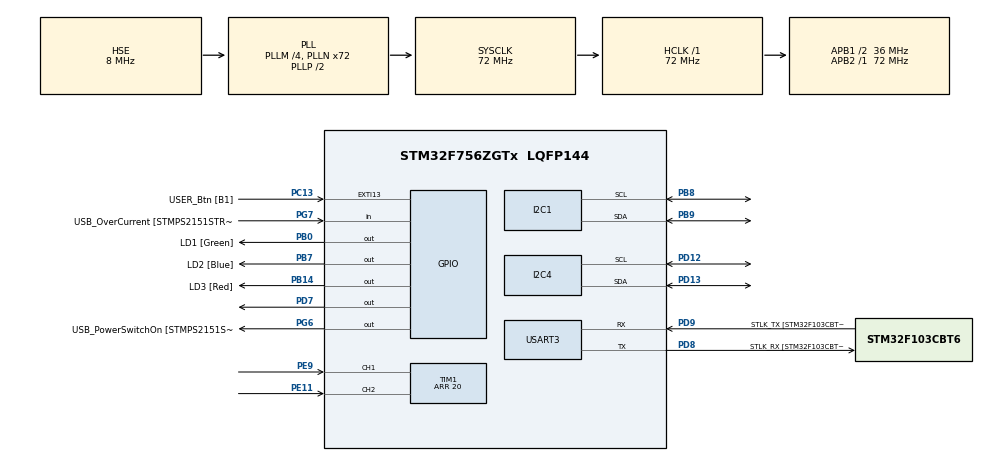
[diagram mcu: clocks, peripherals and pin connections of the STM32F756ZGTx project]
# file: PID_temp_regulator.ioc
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I2C1.Timing=0x00808CD2
I2C4.Timing=0x00808CD2
Mcu.Family=STM32F7
Mcu.Name=STM32F756ZGTx
Mcu.Package=LQFP144
NVIC.PriorityGroup=NVIC_PRIORITYGROUP_4
NVIC.USART3_IRQn=true\:0\:0\:false\:false\:true\:true\:true\:true
PA1.GPIO_Label=RMII_REF_CLK [LAN8742A-CZ-TR_REFCLK0]
PA1.Signal=ETH_REF_CLK
PA10.GPIO_Label=USB_ID
PA10.Signal=USB_OTG_FS_ID
PA11.GPIO_Label=USB_DM
PA11.Signal=USB_OTG_FS_DM
PA12.GPIO_Label=USB_DP
PA12.Signal=USB_OTG_FS_DP
PA13.GPIO_Label=TMS
PA13.Mode=Serial_Wire
PA13.Signal=SYS_JTMS-SWDIO
PA14.GPIO_Label=TCK
PA14.Mode=Serial_Wire
PA14.Signal=SYS_JTCK-SWCLK
PA2.GPIO_Label=RMII_MDIO [LAN8742A-CZ-TR_MDIO]
PA2.Signal=ETH_MDIO
PA7.GPIO_Label=RMII_CRS_DV [LAN8742A-CZ-TR_CRS_DV]
PA7.Signal=ETH_CRS_DV
PA8.GPIO_Label=USB_SOF [TP1]
PA8.Signal=USB_OTG_FS_SOF
PA9.GPIO_Label=USB_VBUS
PA9.Signal=USB_OTG_FS_VBUS
PB0.GPIO_Label=LD1 [Green]
PB0.Signal=GPIO_Output
PB13.GPIO_Label=RMII_TXD1 [LAN8742A-CZ-TR_TXD1]
PB13.Signal=ETH_TXD1
PB14.GPIO_Label=LD3 [Red]
PB14.Signal=GPIO_Output
PB3.GPIO_Label=SW0
PB3.Signal=SYS_JTDO-SWO
PB7.GPIO_Label=LD2 [Blue]
PB7.Signal=GPIO_Output
PB8.Mode=I2C
PB8.Signal=I2C1_SCL
PB9.Mode=I2C
PB9.Signal=I2C1_SDA
PC1.GPIO_Label=RMII_MDC [LAN8742A-CZ-TR_MDC]
PC1.Signal=ETH_MDC
PC13.GPIO_Label=USER_Btn [B1]
PC13.Signal=GPXTI13
PC14/OSC32_IN.Mode=LSE-External-Oscillator
PC14/OSC32_IN.Signal=RCC_OSC32_IN
PC15/OSC32_OUT.Mode=LSE-External-Oscillator
PC15/OSC32_OUT.Signal=RCC_OSC32_OUT
PC4.GPIO_Label=RMII_RXD0 [LAN8742A-CZ-TR_RXD0]
PC4.Signal=ETH_RXD0
PC5.GPIO_Label=RMII_RXD1 [LAN8742A-CZ-TR_RXD1]
PC5.Signal=ETH_RXD1
PD12.Mode=I2C
PD12.Signal=I2C4_SCL
PD13.Mode=I2C
PD13.Signal=I2C4_SDA
PD7.Signal=GPIO_Output
PD8.GPIO_Label=STLK_RX [STM32F103CBT6_PA3]
PD8.Mode=Asynchronous
PD8.Signal=USART3_TX
PD9.GPIO_Label=STLK_TX [STM32F103CBT6_PA2]
PD9.Mode=Asynchronous
PD9.Signal=USART3_RX
PE11.Signal=S_TIM1_CH2
PE9.Signal=S_TIM1_CH1
PG11.GPIO_Label=RMII_TX_EN [LAN8742A-CZ-TR_TXEN]
PG11.Signal=ETH_TX_EN
PG13.GPIO_Label=RMII_TXD0 [LAN8742A-CZ-TR_TXD0]
PG13.Signal=ETH_TXD0
PG6.GPIO_Label=USB_PowerSwitchOn [STMPS2151STR_EN]
PG6.Signal=GPIO_Output
PG7.GPIO_Label=USB_OverCurrent [STMPS2151STR_FAULT]
PG7.Signal=GPIO_Input
PH0/OSC_IN.GPIO_Label=MCO [STM32F103CBT6_PA8]
PH0/OSC_IN.Mode=HSE-External-Clock-Source
PH0/OSC_IN.Signal=RCC_OSC_IN
PH1/OSC_OUT.Mode=HSE-External-Clock-Source
PH1/OSC_OUT.Signal=RCC_OSC_OUT
ProjectManager.HeapSize=0x200
ProjectManager.StackSize=0x400
ProjectManager.TargetToolchain=STM32CubeIDE
RCC.48MHZClocksFreq_Value=24000000
RCC.AHBFreq_Value=72000000
RCC.APB1CLKDivider=RCC_HCLK_DIV2
RCC.APB1Freq_Value=36000000
RCC.APB1TimFreq_Value=72000000
RCC.APB2Freq_Value=72000000
RCC.APB2TimFreq_Value=72000000
RCC.CortexFreq_Value=72000000
RCC.HCLKFreq_Value=72000000
RCC.HSE_VALUE=8000000
RCC.HSI_VALUE=16000000
RCC.PLLM=4
RCC.PLLMUL=RCC_PLL_MUL9
RCC.PLLN=72
RCC.PLLQ=3
RCC.PLLSourceVirtual=RCC_PLLSOURCE_HSE
RCC.PRESCALERUSB=RCC_USBCLKSOURCE_PLL_DIV1_5
RCC.SYSCLKFreq_VALUE=72000000
RCC.SYSCLKSource=RCC_SYSCLKSOURCE_PLLCLK
RCC.SYSCLKSourceVirtual=RCC_SYSCLKSOURCE_PLLCLK
RCC.USBFreq_Value=48000000
RCC.VCOOutputFreq_Value=144000000
SH.S_TIM1_CH1.0=TIM1_CH1,Encoder_Interface
SH.S_TIM1_CH2.0=TIM1_CH2,Encoder_Interface
TIM1.EncoderMode=TIM_ENCODERMODE_TI1
TIM1.IC1Filter=3
TIM1.IC2Filter=3
TIM1.Period=20
USART3.VirtualMode-Asynchronous=VM_ASYNC
board=NUCLEO-F756ZG

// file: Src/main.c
/* USER CODE BEGIN Header */
/**
  ******************************************************************************
  * @file           : main.c
  * @brief          : Main program body
  ******************************************************************************
  * @attention
  *
  * Copyright (c) 2025 STMicroelectronics.
  * All rights reserved.
  *
  * This software is licensed under terms that can be found in the LICENSE file
  * in the root directory of this software component.
  * If no LICENSE file comes with this software, it is provided AS-IS.
  *
  ******************************************************************************
  */
/* USER CODE END Header */
#include "main.h"

/* USER CODE BEGIN Includes */

#include "BMPXX80.h"
#include "i2c-lcd.h"

#include <stdio.h>
#include <string.h>

/* USER CODE END Includes */

I2C_HandleTypeDef hi2c1;
I2C_HandleTypeDef hi2c4;

TIM_HandleTypeDef htim1;

UART_HandleTypeDef huart3;

/* USER CODE BEGIN PV */

float temperature;
float temp_zadana=27;
int32_t pressure;

/* PID Parameters */
float Kp = 5.0;  // Proportional gain
float Ki = 0.1;  // Integral gain
float Kd = 0.05; // Derivative gain

float integral = 0.0;
float previous_error = 0.0;
float output = 0.0;

#define MAX_UART_LENGTH 20
char uart_buffer[MAX_UART_LENGTH];
float temp_from_uart;

int encoder_adjusted = 0;  // Flaga, która będzie śledzić, czy temperatura była zmieniona przez enkoder
uint32_t last_encoder_time = 0;  // Czas ostatniego obrotu enkodera

float last_temp_from_uart = 0.0;  // Zmienna przechowująca poprzednią wartość z UART

/* USER CODE END PV */

void SystemClock_Config(void);
static void MX_GPIO_Init(void);
static void MX_USART3_UART_Init(void);
static void MX_I2C1_Init(void);
static void MX_I2C4_Init(void);
static void MX_TIM1_Init(void);

int main(void)
{

  /* USER CODE BEGIN 1 */

	#define MAX_LENGTH 30
	char text[MAX_LENGTH];

  /* USER CODE END 1 */

  /* MCU Configuration--------------------------------------------------------*/

  /* Reset of all peripherals, Initializes the Flash interface and the Systick. */
  HAL_Init();

  /* Configure the system clock */
  SystemClock_Config();

  /* Initialize all configured peripherals */
  MX_GPIO_Init();
  MX_USART3_UART_Init();
  MX_I2C1_Init();
  MX_I2C4_Init();
  MX_TIM1_Init();
  /* USER CODE BEGIN 2 */

  BMP280_Init(&hi2c1, BMP280_TEMPERATURE_16BIT, BMP280_STANDARD, BMP280_FORCEDMODE);
  lcd_init ();
  lcd_send_string ("Czujnik BMP280");
  HAL_Delay(100);
  lcd_put_cur(1, 0);
  lcd_send_string("I2C1-BMP,I2C4-LCD");
  HAL_Delay(2000);

  HAL_TIM_Encoder_Start(&htim1, TIM_CHANNEL_ALL);

  void UART_Receive_Temperature(void)
  {
      // Oczekujemy na dane przez UART
      HAL_UART_Receive(&huart3, (uint8_t*)uart_buffer, MAX_UART_LENGTH, 1000);

      // Konwertujemy odebrany tekst na zmienną float
      sscanf(uart_buffer, "%f", &temp_from_uart);

      // Sprawdzamy, czy wartość jest w dopuszczalnym zakresie (np. 20-35°C) i czy różni się od poprzedniej wartości
      if (temp_from_uart >= 20.0 && temp_from_uart <= 35.0 && temp_from_uart != last_temp_from_uart)
      {
          temp_zadana = temp_from_uart;  // Zmieniamy zadaną temperaturę tylko, jeśli różni się od poprzedniej
          last_temp_from_uart = temp_from_uart;  // Zapamiętujemy nową wartość
      }
  }

  /* USER CODE END 2 */

  /* Infinite loop */
  while (1)
  {

    /* USER CODE BEGIN 3 */

	  // Odbiór nowej temperatury przez UART
	  UART_Receive_Temperature();

	  BMP280_ReadTemperatureAndPressure(&temperature, &pressure);
	  sprintf((char*)text, "%.2f, ", temperature);
	  HAL_UART_Transmit(&huart3, (uint8_t*)text, strlen(text), 1000);

	  lcd_clear ();
	  lcd_put_cur(0, 0);
	  sprintf((char*)text, "Temp.  %.2f  C", temperature);
	  lcd_send_string(text);
	  lcd_put_cur(1, 0);

	  if (HAL_GetTick() - last_encoder_time > 1000) {  // Po 1 sekundzie (1000 ms)
	      encoder_adjusted = 0;  // Resetujemy flagę, umożliwiając UART zmianę temperatury
	  }

	  // Odczytujemy wartość z enkodera
	  int encoder_value = __HAL_TIM_GET_COUNTER(&htim1);

	  // Sprawdzamy kierunek obrotu enkodera
	  static int previous_encoder_value = 0;  // Zmienna do przechowywania poprzedniej wartości
	  int encoder_delta = encoder_value - previous_encoder_value;  // Różnica między aktualnym i poprzednim odczytem

	  // Jeśli obracamy w jedną stronę (wartość rośnie), zwiększamy temp_zadana
	  if (encoder_delta > 0) {
	      if (temp_zadana < 34.90) {
	          temp_zadana += 0.1;  // Zwiększamy o 0.1 stopnia
	          encoder_adjusted = 1;  // Zmieniono temperaturę przez enkoder
	          last_encoder_time = HAL_GetTick();  // Zapamiętujemy czas zmiany
	      }
	  }
	  else if (encoder_delta < 0) {
	      if (temp_zadana > 20.00) {
	          temp_zadana -= 0.1;  // Zmniejszamy o 0.1 stopnia
	          encoder_adjusted = 1;  // Zmieniono temperaturę przez enkoder
	          last_encoder_time = HAL_GetTick();  // Zapamiętujemy czas zmiany
	      }
	  }

	  // Aktualizujemy poprzednią wartość enkodera
	  previous_encoder_value = encoder_value;

	  sprintf((char*)text, "T_zad. %.2f  C", temp_zadana);
	  lcd_send_string(text);

	  // PID Control Logic
	          float error = temp_zadana - temperature;  // Obliczenie błędu
	          integral += error * 0.5;                  // Całkowanie (przemnożone przez 0.5, aby ograniczyć czas trwania)
	          if (integral > 5.0) integral = 5.0;      // Ograniczenie całki, aby uniknąć jej zbytniego wzrostu
	          if (integral < -5.0) integral = -5.0;    // Ograniczenie całki w drugą stronę

	          float derivative = (error - previous_error) / 0.5; // Różniczkowanie (przemnożone przez 0.5, aby ograniczyć zmienność)

	          output = Kp * error + Ki * integral + Kd * derivative; // Obliczenie wyjścia PID

	          // Ograniczamy wyjście
	          if (output > 1.0) output = 1.0;
	          if (output < 0.0) output = 0.0;

	          // Ustawiamy stan grzałki w zależności od wyjścia PID
	          if (output > 0.5) {
	              HAL_GPIO_WritePin(GPIOD, GPIO_PIN_7, GPIO_PIN_SET);
	              HAL_GPIO_WritePin(GPIOB, LD1_Pin, GPIO_PIN_SET);
	          } else {
	              HAL_GPIO_WritePin(GPIOD, GPIO_PIN_7, GPIO_PIN_RESET);
	              HAL_GPIO_WritePin(GPIOB, LD1_Pin, GPIO_PIN_RESET);
	          }

	          // Przechowywanie poprzedniego błędu do obliczeń różniczkowych
	          previous_error = error;

	  HAL_Delay(500);
  }
  /* USER CODE END 3 */
}

void SystemClock_Config(void)
{
  RCC_OscInitTypeDef RCC_OscInitStruct = {0};
  RCC_ClkInitTypeDef RCC_ClkInitStruct = {0};

  /** Configure LSE Drive Capability
  */
  HAL_PWR_EnableBkUpAccess();

  /** Configure the main internal regulator output voltage
  */
  __HAL_RCC_PWR_CLK_ENABLE();
  __HAL_PWR_VOLTAGESCALING_CONFIG(PWR_REGULATOR_VOLTAGE_SCALE3);

  /** Initializes the RCC Oscillators according to the specified parameters
  * in the RCC_OscInitTypeDef structure.
  */
  RCC_OscInitStruct.OscillatorType = RCC_OSCILLATORTYPE_HSE;
  RCC_OscInitStruct.HSEState = RCC_HSE_BYPASS;
  RCC_OscInitStruct.PLL.PLLState = RCC_PLL_ON;
  RCC_OscInitStruct.PLL.PLLSource = RCC_PLLSOURCE_HSE;
  RCC_OscInitStruct.PLL.PLLM = 4;
  RCC_OscInitStruct.PLL.PLLN = 72;
  RCC_OscInitStruct.PLL.PLLP = RCC_PLLP_DIV2;
  RCC_OscInitStruct.PLL.PLLQ = 3;
  if (HAL_RCC_OscConfig(&RCC_OscInitStruct) != HAL_OK)
  {
    Error_Handler();
  }

  /** Initializes the CPU, AHB and APB buses clocks
  */
  RCC_ClkInitStruct.ClockType = RCC_CLOCKTYPE_HCLK|RCC_CLOCKTYPE_SYSCLK
                              |RCC_CLOCKTYPE_PCLK1|RCC_CLOCKTYPE_PCLK2;
  RCC_ClkInitStruct.SYSCLKSource = RCC_SYSCLKSOURCE_PLLCLK;
  RCC_ClkInitStruct.AHBCLKDivider = RCC_SYSCLK_DIV1;
  RCC_ClkInitStruct.APB1CLKDivider = RCC_HCLK_DIV2;
  RCC_ClkInitStruct.APB2CLKDivider = RCC_HCLK_DIV1;

  if (HAL_RCC_ClockConfig(&RCC_ClkInitStruct, FLASH_LATENCY_2) != HAL_OK)
  {
    Error_Handler();
  }
}

static void MX_I2C1_Init(void)
{

  hi2c1.Instance = I2C1;
  hi2c1.Init.Timing = 0x00808CD2;
  hi2c1.Init.OwnAddress1 = 0;
  hi2c1.Init.AddressingMode = I2C_ADDRESSINGMODE_7BIT;
  hi2c1.Init.DualAddressMode = I2C_DUALADDRESS_DISABLE;
  hi2c1.Init.OwnAddress2 = 0;
  hi2c1.Init.OwnAddress2Masks = I2C_OA2_NOMASK;
  hi2c1.Init.GeneralCallMode = I2C_GENERALCALL_DISABLE;
  hi2c1.Init.NoStretchMode = I2C_NOSTRETCH_DISABLE;
  if (HAL_I2C_Init(&hi2c1) != HAL_OK)
  {
    Error_Handler();
  }

  /** Configure Analogue filter
  */
  if (HAL_I2CEx_ConfigAnalogFilter(&hi2c1, I2C_ANALOGFILTER_ENABLE) != HAL_OK)
  {
    Error_Handler();
  }

  /** Configure Digital filter
  */
  if (HAL_I2CEx_ConfigDigitalFilter(&hi2c1, 0) != HAL_OK)
  {
    Error_Handler();
  }

}

static void MX_I2C4_Init(void)
{

  hi2c4.Instance = I2C4;
  hi2c4.Init.Timing = 0x00808CD2;
  hi2c4.Init.OwnAddress1 = 0;
  hi2c4.Init.AddressingMode = I2C_ADDRESSINGMODE_7BIT;
  hi2c4.Init.DualAddressMode = I2C_DUALADDRESS_DISABLE;
  hi2c4.Init.OwnAddress2 = 0;
  hi2c4.Init.OwnAddress2Masks = I2C_OA2_NOMASK;
  hi2c4.Init.GeneralCallMode = I2C_GENERALCALL_DISABLE;
  hi2c4.Init.NoStretchMode = I2C_NOSTRETCH_DISABLE;
  if (HAL_I2C_Init(&hi2c4) != HAL_OK)
  {
    Error_Handler();
  }

  /** Configure Analogue filter
  */
  if (HAL_I2CEx_ConfigAnalogFilter(&hi2c4, I2C_ANALOGFILTER_ENABLE) != HAL_OK)
  {
    Error_Handler();
  }

  /** Configure Digital filter
  */
  if (HAL_I2CEx_ConfigDigitalFilter(&hi2c4, 0) != HAL_OK)
  {
    Error_Handler();
  }

}

static void MX_TIM1_Init(void)
{

  TIM_Encoder_InitTypeDef sConfig = {0};
  TIM_MasterConfigTypeDef sMasterConfig = {0};

  htim1.Instance = TIM1;
  htim1.Init.Prescaler = 0;
  htim1.Init.CounterMode = TIM_COUNTERMODE_UP;
  htim1.Init.Period = 20;
  htim1.Init.ClockDivision = TIM_CLOCKDIVISION_DIV1;
  htim1.Init.RepetitionCounter = 0;
  htim1.Init.AutoReloadPreload = TIM_AUTORELOAD_PRELOAD_DISABLE;
  sConfig.EncoderMode = TIM_ENCODERMODE_TI1;
  sConfig.IC1Polarity = TIM_ICPOLARITY_RISING;
  sConfig.IC1Selection = TIM_ICSELECTION_DIRECTTI;
  sConfig.IC1Prescaler = TIM_ICPSC_DIV1;
  sConfig.IC1Filter = 3;
  sConfig.IC2Polarity = TIM_ICPOLARITY_RISING;
  sConfig.IC2Selection = TIM_ICSELECTION_DIRECTTI;
  sConfig.IC2Prescaler = TIM_ICPSC_DIV1;
  sConfig.IC2Filter = 3;
  if (HAL_TIM_Encoder_Init(&htim1, &sConfig) != HAL_OK)
  {
    Error_Handler();
  }
  sMasterConfig.MasterOutputTrigger = TIM_TRGO_RESET;
  sMasterConfig.MasterOutputTrigger2 = TIM_TRGO2_RESET;
  sMasterConfig.MasterSlaveMode = TIM_MASTERSLAVEMODE_DISABLE;
  if (HAL_TIMEx_MasterConfigSynchronization(&htim1, &sMasterConfig) != HAL_OK)
  {
    Error_Handler();
  }

}

static void MX_USART3_UART_Init(void)
{

  huart3.Instance = USART3;
  huart3.Init.BaudRate = 115200;
  huart3.Init.WordLength = UART_WORDLENGTH_8B;
  huart3.Init.StopBits = UART_STOPBITS_1;
  huart3.Init.Parity = UART_PARITY_NONE;
  huart3.Init.Mode = UART_MODE_TX_RX;
  huart3.Init.HwFlowCtl = UART_HWCONTROL_NONE;
  huart3.Init.OverSampling = UART_OVERSAMPLING_16;
  huart3.Init.OneBitSampling = UART_ONE_BIT_SAMPLE_DISABLE;
  huart3.AdvancedInit.AdvFeatureInit = UART_ADVFEATURE_NO_INIT;
  if (HAL_UART_Init(&huart3) != HAL_OK)
  {
    Error_Handler();
  }

}

static void MX_GPIO_Init(void)
{
  GPIO_InitTypeDef GPIO_InitStruct = {0};

  /* GPIO Ports Clock Enable */
  __HAL_RCC_GPIOC_CLK_ENABLE();
  __HAL_RCC_GPIOH_CLK_ENABLE();
  __HAL_RCC_GPIOA_CLK_ENABLE();
  __HAL_RCC_GPIOB_CLK_ENABLE();
  __HAL_RCC_GPIOE_CLK_ENABLE();
  __HAL_RCC_GPIOD_CLK_ENABLE();
  __HAL_RCC_GPIOG_CLK_ENABLE();

  /*Configure GPIO pin Output Level */
  HAL_GPIO_WritePin(GPIOB, LD1_Pin|LD3_Pin|LD2_Pin, GPIO_PIN_RESET);

  /*Configure GPIO pin Output Level */
  HAL_GPIO_WritePin(USB_PowerSwitchOn_GPIO_Port, USB_PowerSwitchOn_Pin, GPIO_PIN_RESET);

  /*Configure GPIO pin Output Level */
  HAL_GPIO_WritePin(GPIOD, GPIO_PIN_7, GPIO_PIN_RESET);

  /*Configure GPIO pin : USER_Btn_Pin */
  GPIO_InitStruct.Pin = USER_Btn_Pin;
  GPIO_InitStruct.Mode = GPIO_MODE_IT_RISING;
  GPIO_InitStruct.Pull = GPIO_NOPULL;
  HAL_GPIO_Init(USER_Btn_GPIO_Port, &GPIO_InitStruct);

  /*Configure GPIO pins : RMII_MDC_Pin RMII_RXD0_Pin RMII_RXD1_Pin */
  GPIO_InitStruct.Pin = RMII_MDC_Pin|RMII_RXD0_Pin|RMII_RXD1_Pin;
  GPIO_InitStruct.Mode = GPIO_MODE_AF_PP;
  GPIO_InitStruct.Pull = GPIO_NOPULL;
  GPIO_InitStruct.Speed = GPIO_SPEED_FREQ_VERY_HIGH;
  GPIO_InitStruct.Alternate = GPIO_AF11_ETH;
  HAL_GPIO_Init(GPIOC, &GPIO_InitStruct);

  /*Configure GPIO pins : RMII_REF_CLK_Pin RMII_MDIO_Pin RMII_CRS_DV_Pin */
  GPIO_InitStruct.Pin = RMII_REF_CLK_Pin|RMII_MDIO_Pin|RMII_CRS_DV_Pin;
  GPIO_InitStruct.Mode = GPIO_MODE_AF_PP;
  GPIO_InitStruct.Pull = GPIO_NOPULL;
  GPIO_InitStruct.Speed = GPIO_SPEED_FREQ_VERY_HIGH;
  GPIO_InitStruct.Alternate = GPIO_AF11_ETH;
  HAL_GPIO_Init(GPIOA, &GPIO_InitStruct);

  /*Configure GPIO pins : LD1_Pin LD3_Pin LD2_Pin */
  GPIO_InitStruct.Pin = LD1_Pin|LD3_Pin|LD2_Pin;
  GPIO_InitStruct.Mode = GPIO_MODE_OUTPUT_PP;
  GPIO_InitStruct.Pull = GPIO_NOPULL;
  GPIO_InitStruct.Speed = GPIO_SPEED_FREQ_LOW;
  HAL_GPIO_Init(GPIOB, &GPIO_InitStruct);

  /*Configure GPIO pin : RMII_TXD1_Pin */
  GPIO_InitStruct.Pin = RMII_TXD1_Pin;
  GPIO_InitStruct.Mode = GPIO_MODE_AF_PP;
  GPIO_InitStruct.Pull = GPIO_NOPULL;
  GPIO_InitStruct.Speed = GPIO_SPEED_FREQ_VERY_HIGH;
  GPIO_InitStruct.Alternate = GPIO_AF11_ETH;
  HAL_GPIO_Init(RMII_TXD1_GPIO_Port, &GPIO_InitStruct);

  /*Configure GPIO pin : USB_PowerSwitchOn_Pin */
  GPIO_InitStruct.Pin = USB_PowerSwitchOn_Pin;
  GPIO_InitStruct.Mode = GPIO_MODE_OUTPUT_PP;
  GPIO_InitStruct.Pull = GPIO_NOPULL;
  GPIO_InitStruct.Speed = GPIO_SPEED_FREQ_LOW;
  HAL_GPIO_Init(USB_PowerSwitchOn_GPIO_Port, &GPIO_InitStruct);

  /*Configure GPIO pin : USB_OverCurrent_Pin */
  GPIO_InitStruct.Pin = USB_OverCurrent_Pin;
  GPIO_InitStruct.Mode = GPIO_MODE_INPUT;
  GPIO_InitStruct.Pull = GPIO_NOPULL;
  HAL_GPIO_Init(USB_OverCurrent_GPIO_Port, &GPIO_InitStruct);

  /*Configure GPIO pins : USB_SOF_Pin USB_ID_Pin USB_DM_Pin USB_DP_Pin */
  GPIO_InitStruct.Pin = USB_SOF_Pin|USB_ID_Pin|USB_DM_Pin|USB_DP_Pin;
  GPIO_InitStruct.Mode = GPIO_MODE_AF_PP;
  GPIO_InitStruct.Pull = GPIO_NOPULL;
  GPIO_InitStruct.Speed = GPIO_SPEED_FREQ_VERY_HIGH;
  GPIO_InitStruct.Alternate = GPIO_AF10_OTG_FS;
  HAL_GPIO_Init(GPIOA, &GPIO_InitStruct);

  /*Configure GPIO pin : USB_VBUS_Pin */
  GPIO_InitStruct.Pin = USB_VBUS_Pin;
  GPIO_InitStruct.Mode = GPIO_MODE_INPUT;
  GPIO_InitStruct.Pull = GPIO_NOPULL;
  HAL_GPIO_Init(USB_VBUS_GPIO_Port, &GPIO_InitStruct);

  /*Configure GPIO pin : PD7 */
  GPIO_InitStruct.Pin = GPIO_PIN_7;
  GPIO_InitStruct.Mode = GPIO_MODE_OUTPUT_PP;
  GPIO_InitStruct.Pull = GPIO_NOPULL;
  GPIO_InitStruct.Speed = GPIO_SPEED_FREQ_LOW;
  HAL_GPIO_Init(GPIOD, &GPIO_InitStruct);

  /*Configure GPIO pins : RMII_TX_EN_Pin RMII_TXD0_Pin */
  GPIO_InitStruct.Pin = RMII_TX_EN_Pin|RMII_TXD0_Pin;
  GPIO_InitStruct.Mode = GPIO_MODE_AF_PP;
  GPIO_InitStruct.Pull = GPIO_NOPULL;
  GPIO_InitStruct.Speed = GPIO_SPEED_FREQ_VERY_HIGH;
  GPIO_InitStruct.Alternate = GPIO_AF11_ETH;
  HAL_GPIO_Init(GPIOG, &GPIO_InitStruct);

}

/* USER CODE BEGIN 4 */

/* USER CODE BEGIN 4 */

/* USER CODE END 4 */

void Error_Handler(void)
{
  __disable_irq();
  while (1)
  {
  }
}
